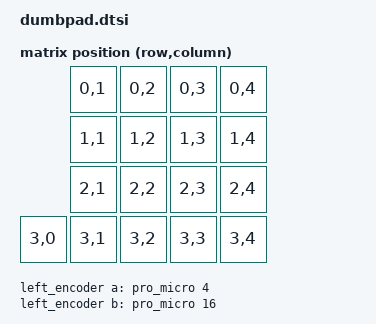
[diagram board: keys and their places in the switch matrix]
/*
 * Copyright (c) 2020 Pete Johanson, Ryan Cross
 *
 * SPDX-License-Identifier: MIT
 */

#include <dt-bindings/zmk/matrix_transform.h>

/ {
    chosen {
        zmk,kscan = &kscan0;
        zmk,matrix_transform = &default_transform;
    };

    default_transform: keymap_transform_0 {
        compatible = "zmk,matrix-transform";
        columns = <5>;
        rows = <4>;
        map = <
        RC(0,1) RC(0,2) RC(0,3) RC(0,4)
        RC(1,1) RC(1,2) RC(1,3) RC(1,4) 
        RC(2,1) RC(2,2) RC(2,3) RC(2,4) 
RC(3,0) RC(3,1) RC(3,2) RC(3,3) RC(3,4) 
        >;
    };

    left_encoder: encoder_left {
        compatible = "alps,ec11";
        label = "LEFT_ENCODER";
        a-gpios = <&pro_micro 4 (GPIO_ACTIVE_HIGH | GPIO_PULL_UP)>;
        b-gpios = <&pro_micro 16 (GPIO_ACTIVE_HIGH | GPIO_PULL_UP)>;
    };
    sensors {
        compatible = "zmk,keymap-sensors";
        sensors = <&left_encoder>;
    };
};

&left_encoder {
    status = "okay";
};
